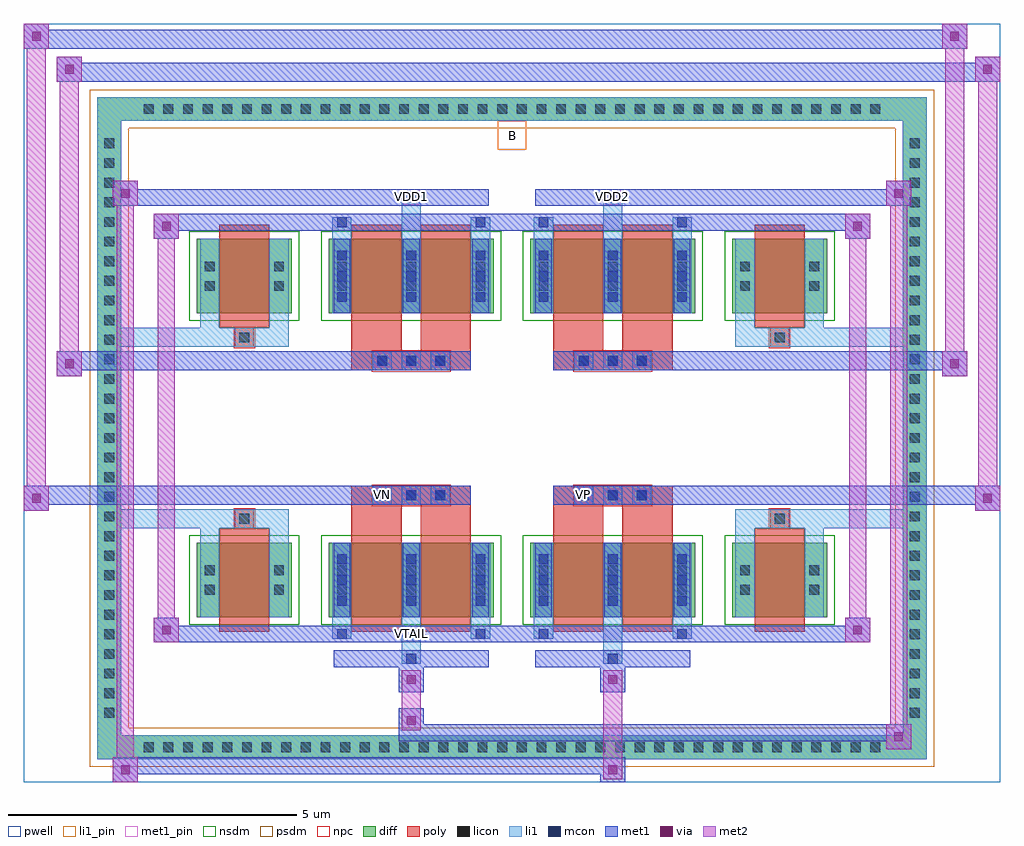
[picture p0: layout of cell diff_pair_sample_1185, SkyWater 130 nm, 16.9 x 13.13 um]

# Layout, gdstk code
import gdstk
lib = gdstk.Library(unit=1e-6, precision=5e-09)
def R(c, l, rs):  # rectangles x0, y0, x1, y1
    for r in rs: c.add(gdstk.rectangle(r[:2], r[2:], *l))
def A(c, l, x, y, w, h, nx, ny, dx, dy):  # array of equal rectangles
    R(c, l, [(x+i*dx, y+j*dy, x+i*dx+w, y+j*dy+h) for i in range(nx) for j in range(ny)])
def P(c, l, *ps):  # polygons
    for p in ps: c.add(gdstk.Polygon(p, *l))
pwell = (64, 44)
diff = (65, 20)
poly = (66, 20)
licon = (66, 44)
li1_pin = (67, 16)
li1 = (67, 20)
mcon = (67, 44)
met1_pin = (68, 16)
met1 = (68, 20)
via = (68, 44)
met2 = (69, 20)
nsdm = (93, 44)
psdm = (94, 20)
npc = (95, 20)

diff_pair_sample_1185 = lib.new_cell('diff_pair_sample_1185')
R(diff_pair_sample_1185, pwell, [(-8.45,-6.13,8.45,7), (-5.77,-4.32,-0.01,-0.8), (0.01,-4.32,5.77,-0.8), (-5.77,0.8,-0.01,4.32), (0.01,0.8,5.77,4.32)])
A(diff_pair_sample_1185, diff, -6.495, -5.73, 0.41, 0.41, 38, 2, 0.34, 11.05)
A(diff_pair_sample_1185, diff, -7.18, -5.135, 0.41, 0.41, 1, 30, 0, 0.34)
A(diff_pair_sample_1185, diff, 6.77, -5.135, 0.41, 0.41, 1, 30, 0, 0.34)
R(diff_pair_sample_1185, diff, [(-6.495,-5.73,6.495,-5.32), (-7.18,-5.135,-6.77,5.135), (6.77,-5.135,7.18,5.135), (-5.46,-3.275,-3.81,-1.985), (-3.17,-3.275,-0.32,-1.985), (0.32,-3.275,3.17,-1.985), (3.81,-3.275,5.46,-1.985), (-5.46,1.985,-3.81,3.275), (-3.17,1.985,-0.32,3.275), (0.32,1.985,3.17,3.275), (3.81,1.985,5.46,3.275), (-6.495,5.32,6.495,5.73)])
P(diff_pair_sample_1185, diff, [(7.18,5.73),(-7.18,5.73),(-7.18,-5.32),(-6.77,-5.32),(-6.77,5.32),(6.77,5.32),(6.77,-5.32),(-6.77,-5.32),(-7.18,-5.32),(-7.18,-5.73),(7.18,-5.73)])
A(diff_pair_sample_1185, poly, -2.41, -1.33, 0.33, 0.33, 3, 2, 0.5, 2.33)
A(diff_pair_sample_1185, poly, 1.08, -1.33, 0.33, 0.33, 3, 2, 0.5, 2.33)
R(diff_pair_sample_1185, poly, [(-5.07,-3.525,-4.2,-1.735), (-2.78,-3.525,-1.91,-1.735), (-1.58,-3.525,-0.71,-1.735), (0.71,-3.525,1.58,-1.735), (1.91,-3.525,2.78,-1.735), (4.2,-3.525,5.07,-1.735), (-4.8,-1.735,-4.47,-1.405), (-4.8,-1.735,-4.47,-1.405), (-2.78,-1.735,-1.91,-1.33), (-1.58,-1.735,-0.71,-1.33), (0.71,-1.735,1.58,-1.33), (1.91,-1.735,2.78,-1.33), (4.47,-1.735,4.8,-1.405), (4.47,-1.735,4.8,-1.405), (-2.78,-1.33,-0.71,-1), (0.71,-1.33,2.78,-1), (-2.78,1,-0.71,1.33), (0.71,1,2.78,1.33), (-2.78,1.33,-1.91,1.735), (-1.58,1.33,-0.71,1.735), (0.71,1.33,1.58,1.735), (1.91,1.33,2.78,1.735), (-4.8,1.405,-4.47,1.735), (-4.8,1.405,-4.47,1.735), (4.47,1.405,4.8,1.735), (4.47,1.405,4.8,1.735), (-5.07,1.735,-4.2,3.525), (-2.78,1.735,-1.91,3.525), (-1.58,1.735,-0.71,3.525), (0.71,1.735,1.58,3.525), (1.91,1.735,2.78,3.525), (4.2,1.735,5.07,3.525)])
A(diff_pair_sample_1185, licon, -6.375, -5.61, 0.17, 0.17, 38, 2, 0.34, 11.05)
A(diff_pair_sample_1185, licon, -7.06, -5.015, 0.17, 0.17, 1, 30, 0, 0.34)
A(diff_pair_sample_1185, licon, 6.89, -5.015, 0.17, 0.17, 1, 30, 0, 0.34)
A(diff_pair_sample_1185, licon, -3.03, -2.885, 0.17, 0.17, 3, 2, 1.2, 0.34)
A(diff_pair_sample_1185, licon, 0.46, -2.885, 0.17, 0.17, 3, 2, 1.2, 0.34)
A(diff_pair_sample_1185, licon, -2.33, -1.25, 0.17, 0.17, 3, 2, 0.5, 2.33)
A(diff_pair_sample_1185, licon, 1.16, -1.25, 0.17, 0.17, 3, 2, 0.5, 2.33)
A(diff_pair_sample_1185, licon, -3.03, 2.375, 0.17, 0.17, 3, 2, 1.2, 0.34)
A(diff_pair_sample_1185, licon, 0.46, 2.375, 0.17, 0.17, 3, 2, 1.2, 0.34)
R(diff_pair_sample_1185, licon, [(-5.32,-2.885,-5.15,-2.715), (-4.12,-2.885,-3.95,-2.715), (3.95,-2.885,4.12,-2.715), (5.15,-2.885,5.32,-2.715), (-5.32,-2.545,-5.15,-2.375), (-4.12,-2.545,-3.95,-2.375), (3.95,-2.545,4.12,-2.375), (5.15,-2.545,5.32,-2.375), (-4.72,-1.655,-4.55,-1.485), (4.55,-1.655,4.72,-1.485), (-4.72,1.485,-4.55,1.655), (4.55,1.485,4.72,1.655), (-5.32,2.375,-5.15,2.545), (-4.12,2.375,-3.95,2.545), (3.95,2.375,4.12,2.545), (5.15,2.375,5.32,2.545), (-5.32,2.715,-5.15,2.885), (-4.12,2.715,-3.95,2.885), (3.95,2.715,4.12,2.885), (5.15,2.715,5.32,2.885)])
R(diff_pair_sample_1185, li1_pin, [(-0.25,4.82,0.25,5.32)])
A(diff_pair_sample_1185, li1, -6.455, -5.69, 0.33, 0.33, 38, 2, 0.34, 11.05)
A(diff_pair_sample_1185, li1, -7.14, -5.095, 0.33, 0.33, 1, 30, 0, 0.34)
A(diff_pair_sample_1185, li1, 6.81, -5.095, 0.33, 0.33, 1, 30, 0, 0.34)
A(diff_pair_sample_1185, li1, -3.11, -3.275, 0.33, 1.29, 3, 2, 1.2, 5.26)
A(diff_pair_sample_1185, li1, 0.38, -3.275, 0.33, 1.29, 3, 2, 1.2, 5.26)
A(diff_pair_sample_1185, li1, -3.03, -3.075, 0.17, 0.17, 3, 3, 1.2, 0.36)
A(diff_pair_sample_1185, li1, -3.03, -3.075, 0.17, 0.89, 3, 2, 1.2, 5.26)
A(diff_pair_sample_1185, li1, 0.46, -3.075, 0.17, 0.17, 3, 3, 1.2, 0.36)
A(diff_pair_sample_1185, li1, 0.46, -3.075, 0.17, 0.89, 3, 2, 1.2, 5.26)
A(diff_pair_sample_1185, li1, -3.11, -2.965, 0.33, 0.33, 3, 2, 1.2, 0.34)
A(diff_pair_sample_1185, li1, 0.38, -2.965, 0.33, 0.33, 3, 2, 1.2, 0.34)
A(diff_pair_sample_1185, li1, -2.41, -1.33, 0.33, 0.33, 3, 2, 0.5, 2.33)
A(diff_pair_sample_1185, li1, 1.08, -1.33, 0.33, 0.33, 3, 2, 0.5, 2.33)
A(diff_pair_sample_1185, li1, -3.03, 2.185, 0.17, 0.17, 3, 3, 1.2, 0.36)
A(diff_pair_sample_1185, li1, 0.46, 2.185, 0.17, 0.17, 3, 3, 1.2, 0.36)
A(diff_pair_sample_1185, li1, -3.11, 2.295, 0.33, 0.33, 3, 2, 1.2, 0.34)
A(diff_pair_sample_1185, li1, 0.38, 2.295, 0.33, 0.33, 3, 2, 1.2, 0.34)
R(diff_pair_sample_1185, li1, [(-7.18,-5.73,-6.77,-5.32), (-7.18,-5.73,-6.77,-5.32), (-6.77,-5.73,6.77,-5.32), (6.77,-5.73,7.18,-5.32), (6.77,-5.73,7.18,-5.32), (-7.18,-5.32,-6.77,5.32), (6.77,-5.32,7.18,5.32), (-1.91,-4.08,-1.58,-3.275), (-1.83,-4.08,-1.66,-3.91), (1.58,-4.08,1.91,-3.275), (1.66,-4.08,1.83,-3.91), (-3.11,-3.65,-2.78,-3.275), (-3.03,-3.65,-2.86,-3.48), (-0.71,-3.65,-0.38,-3.275), (-0.63,-3.65,-0.46,-3.48), (0.38,-3.65,0.71,-3.275), (0.46,-3.65,0.63,-3.48), (2.78,-3.65,3.11,-3.275), (2.86,-3.65,3.03,-3.48), (-5.4,-3.275,-5.07,-1.985), (-4.2,-3.275,-3.87,-1.985), (3.87,-3.275,4.2,-1.985), (5.07,-3.275,5.4,-1.985), (-5.4,-2.965,-5.07,-2.635), (-4.2,-2.965,-3.87,-2.635), (3.87,-2.965,4.2,-2.635), (5.07,-2.965,5.4,-2.635), (-5.4,-2.625,-5.07,-2.295), (-4.2,-2.625,-3.87,-2.295), (3.87,-2.625,4.2,-2.295), (5.07,-2.625,5.4,-2.295), (-5.4,-1.985,-5.07,-1.405), (-4.2,-1.985,-3.87,-1.405), (3.87,-1.985,4.2,-1.405), (5.07,-1.985,5.4,-1.405), (-7.18,-1.735,-4.8,-1.405), (-5.4,-1.735,-4.8,-1.405), (-4.8,-1.735,-4.47,-1.405), (-4.47,-1.735,-3.87,-1.405), (3.87,-1.735,4.47,-1.405), (4.47,-1.735,4.8,-1.405), (4.47,-1.735,7.18,-1.405), (4.8,-1.735,5.4,-1.405), (-7.18,1.405,-4.8,1.735), (-5.4,1.405,-4.8,1.735), (-5.4,1.405,-5.07,1.985), (-4.8,1.405,-4.47,1.735), (-4.47,1.405,-3.87,1.735), (-4.2,1.405,-3.87,1.985), (3.87,1.405,4.47,1.735), (3.87,1.405,4.2,1.985), (4.47,1.405,4.8,1.735), (4.47,1.405,7.18,1.735), (4.8,1.405,5.4,1.735), (5.07,1.405,5.4,1.985), (-5.4,1.985,-5.07,3.275), (-4.2,1.985,-3.87,3.275), (3.87,1.985,4.2,3.275), (5.07,1.985,5.4,3.275), (-5.4,2.295,-5.07,2.625), (-4.2,2.295,-3.87,2.625), (3.87,2.295,4.2,2.625), (5.07,2.295,5.4,2.625), (-5.4,2.635,-5.07,2.965), (-4.2,2.635,-3.87,2.965), (3.87,2.635,4.2,2.965), (5.07,2.635,5.4,2.965), (-3.11,3.275,-2.78,3.65), (-1.91,3.275,-1.58,4.08), (-0.71,3.275,-0.38,3.65), (0.38,3.275,0.71,3.65), (1.58,3.275,1.91,4.08), (2.78,3.275,3.11,3.65), (-3.03,3.48,-2.86,3.65), (-0.63,3.48,-0.46,3.65), (0.46,3.48,0.63,3.65), (2.86,3.48,3.03,3.65), (-1.83,3.91,-1.66,4.08), (1.66,3.91,1.83,4.08), (-7.18,5.32,-6.77,5.73), (-7.18,5.32,-6.77,5.73), (-6.77,5.32,6.77,5.73), (6.77,5.32,7.18,5.73), (6.77,5.32,7.18,5.73)])
A(diff_pair_sample_1185, mcon, -3.03, -3.075, 0.17, 0.17, 3, 3, 1.2, 0.36)
A(diff_pair_sample_1185, mcon, 0.46, -3.075, 0.17, 0.17, 3, 3, 1.2, 0.36)
A(diff_pair_sample_1185, mcon, -2.33, -1.25, 0.17, 0.17, 3, 2, 0.5, 2.33)
A(diff_pair_sample_1185, mcon, 1.16, -1.25, 0.17, 0.17, 3, 2, 0.5, 2.33)
A(diff_pair_sample_1185, mcon, -3.03, 2.185, 0.17, 0.17, 3, 3, 1.2, 0.36)
A(diff_pair_sample_1185, mcon, 0.46, 2.185, 0.17, 0.17, 3, 3, 1.2, 0.36)
R(diff_pair_sample_1185, mcon, [(-1.83,-4.08,-1.66,-3.91), (1.66,-4.08,1.83,-3.91), (-3.03,-3.65,-2.86,-3.48), (-0.63,-3.65,-0.46,-3.48), (0.46,-3.65,0.63,-3.48), (2.86,-3.65,3.03,-3.48), (-3.03,3.48,-2.86,3.65), (-0.63,3.48,-0.46,3.65), (0.46,3.48,0.63,3.65), (2.86,3.48,3.03,3.65), (-1.83,3.91,-1.66,4.08), (1.66,3.91,1.83,4.08)])
R(diff_pair_sample_1185, met1_pin, [(-1.88,-3.69,-1.61,-3.42), (-2.38,-1.29,-2.11,-1.02), (1.11,-1.29,1.38,-1.02), (-1.88,3.87,-1.61,4.14), (1.61,3.87,1.88,4.14)])
A(diff_pair_sample_1185, met1, -3.09, -3.275, 0.29, 1.29, 3, 2, 1.2, 5.26)
A(diff_pair_sample_1185, met1, 0.4, -3.275, 0.29, 1.29, 3, 2, 1.2, 5.26)
A(diff_pair_sample_1185, met1, -3.09, -3.135, 0.29, 0.29, 3, 3, 1.2, 0.36)
A(diff_pair_sample_1185, met1, 0.4, -3.135, 0.29, 0.29, 3, 3, 1.2, 0.36)
A(diff_pair_sample_1185, met1, -2.39, -1.31, 0.29, 0.29, 3, 2, 0.5, 2.33)
A(diff_pair_sample_1185, met1, 1.1, -1.31, 0.29, 0.29, 3, 2, 0.5, 2.33)
A(diff_pair_sample_1185, met1, -3.09, 2.125, 0.29, 0.29, 3, 3, 1.2, 0.36)
A(diff_pair_sample_1185, met1, 0.4, 2.125, 0.29, 0.29, 3, 3, 1.2, 0.36)
R(diff_pair_sample_1185, met1, [(-6.91,-6.13,-6.48,-5.7), (1.53,-6.13,1.96,-5.7), (-6.91,-5.99,1.96,-5.7), (6.48,-5.56,6.91,-5.13), (-1.96,-5.42,6.91,-5.13), (-1.96,-5.28,-1.53,-4.85), (-1.96,-4.57,-1.53,-4.14), (1.53,-4.57,1.96,-4.14), (-3.09,-4.14,-0.4,-3.85), (-1.89,-4.14,-1.6,-3.85), (0.4,-4.14,3.09,-3.85), (1.6,-4.14,1.89,-3.85), (-6.2,-3.71,-5.77,-3.28), (-6.2,-3.71,-3.09,-3.42), (-3.09,-3.71,-2.8,-3.42), (-3.09,-3.71,-0.4,-3.42), (-0.69,-3.71,-0.4,-3.42), (-0.4,-3.71,0.4,-3.42), (0.4,-3.71,0.69,-3.42), (0.4,-3.71,3.09,-3.42), (2.8,-3.71,3.09,-3.42), (3.09,-3.71,6.2,-3.42), (5.77,-3.71,6.2,-3.28), (-8.45,-1.43,-8.02,-1), (8.02,-1.43,8.45,-1), (-8.45,-1.33,-0.71,-1), (-2.78,-1.33,-0.71,-1), (0.71,-1.33,2.78,-1), (0.71,-1.33,8.45,-1), (-7.88,0.9,-7.45,1.33), (7.45,0.9,7.88,1.33), (-7.88,1,-2.78,1.33), (-2.78,1,-0.71,1.33), (0.71,1,2.78,1.33), (2.78,1,7.88,1.33), (-6.2,3.28,-5.77,3.71), (5.77,3.28,6.2,3.71), (-6.2,3.42,-3.09,3.71), (-3.09,3.42,-2.8,3.71), (-3.09,3.42,-0.4,3.71), (-0.69,3.42,-0.4,3.71), (-0.4,3.42,0.4,3.71), (0.4,3.42,0.69,3.71), (0.4,3.42,3.09,3.71), (2.8,3.42,3.09,3.71), (3.09,3.42,6.2,3.71), (-6.91,3.85,-6.48,4.28), (-6.91,3.85,-3.09,4.14), (-3.09,3.85,-0.4,4.14), (-1.89,3.85,-1.6,4.14), (0.4,3.85,3.09,4.14), (1.6,3.85,1.89,4.14), (3.09,3.85,6.91,4.14), (6.48,3.85,6.91,4.28), (-7.88,6,-7.45,6.43), (-7.88,6,-5.77,6.33), (-5.77,6,5.77,6.33), (5.77,6,8.45,6.33), (8.02,6,8.45,6.43), (-8.45,6.57,-8.02,7), (-8.45,6.57,-5.77,6.9), (-5.77,6.57,5.77,6.9), (5.77,6.57,7.88,6.9), (7.45,6.57,7.88,7)])
R(diff_pair_sample_1185, via, [(-6.77,-5.99,-6.62,-5.84), (1.67,-5.99,1.82,-5.84), (6.62,-5.42,6.77,-5.27), (-1.82,-5.14,-1.67,-4.99), (-1.82,-4.43,-1.67,-4.28), (1.67,-4.43,1.82,-4.28), (-6.06,-3.57,-5.91,-3.42), (5.91,-3.57,6.06,-3.42), (-8.31,-1.29,-8.16,-1.14), (8.16,-1.29,8.31,-1.14), (-7.74,1.04,-7.59,1.19), (7.59,1.04,7.74,1.19), (-6.06,3.42,-5.91,3.57), (5.91,3.42,6.06,3.57), (-6.77,3.99,-6.62,4.14), (6.62,3.99,6.77,4.14), (-7.74,6.14,-7.59,6.29), (8.16,6.14,8.31,6.29), (-8.31,6.71,-8.16,6.86), (7.59,6.71,7.74,6.86)])
R(diff_pair_sample_1185, met2, [(-6.91,-6.13,-6.48,-5.7), (-6.84,-6.13,-6.55,4.28), (-6.55,-6.13,-6.48,-5.7), (-6.86,-6.08,-6.53,-5.75), (1.58,-6.08,1.91,-5.75), (1.58,-5.75,1.91,-4.52), (6.48,-5.56,6.91,-5.13), (6.55,-5.56,6.84,4.28), (6.84,-5.56,6.91,-5.13), (6.53,-5.51,6.86,-5.18), (-1.91,-5.23,-1.58,-4.9), (-1.91,-4.9,-1.58,-4.52), (-1.91,-4.52,-1.58,-4.19), (1.58,-4.52,1.91,-4.19), (-6.2,-3.71,-5.77,-3.28), (-6.13,-3.71,-5.84,3.71), (-5.84,-3.71,-5.77,-3.28), (5.77,-3.71,6.2,-3.28), (5.84,-3.71,6.13,3.71), (6.13,-3.71,6.2,-3.28), (-6.15,-3.66,-5.82,-3.33), (5.82,-3.66,6.15,-3.33), (-8.45,-1.43,-8.02,-1), (-8.4,-1.43,-8.07,7), (-8.07,-1.43,-8.02,-1), (8.02,-1.43,8.45,-1), (8.07,-1.43,8.4,6.43), (8.4,-1.43,8.45,-1), (-8.4,-1.38,-8.07,-1.05), (8.07,-1.38,8.4,-1.05), (-7.88,0.9,-7.45,1.33), (-7.83,0.9,-7.5,6.43), (-7.5,0.9,-7.45,1.33), (7.45,0.9,7.88,1.33), (7.5,0.9,7.83,7), (7.83,0.9,7.88,1.33), (-7.83,0.95,-7.5,1.28), (7.5,0.95,7.83,1.28), (-6.2,3.28,-5.77,3.71), (-5.84,3.28,-5.77,3.71), (5.77,3.28,6.2,3.71), (6.13,3.28,6.2,3.71), (-6.15,3.33,-5.82,3.66), (5.82,3.33,6.15,3.66), (-6.91,3.85,-6.48,4.28), (-6.55,3.85,-6.48,4.28), (6.48,3.85,6.91,4.28), (6.84,3.85,6.91,4.28), (-6.86,3.9,-6.53,4.23), (6.53,3.9,6.86,4.23), (-7.88,6,-7.45,6.43), (-7.5,6,-7.45,6.43), (8.02,6,8.45,6.43), (8.4,6,8.45,6.43), (-7.83,6.05,-7.5,6.38), (8.07,6.05,8.4,6.38), (-8.45,6.57,-8.02,7), (-8.07,6.57,-8.02,7), (7.45,6.57,7.88,7), (7.83,6.57,7.88,7), (-8.4,6.62,-8.07,6.95), (7.5,6.62,7.83,6.95)])
R(diff_pair_sample_1185, nsdm, [(-5.59,-3.405,-3.68,-1.855), (-3.3,-3.405,-0.19,-1.855), (0.19,-3.405,3.3,-1.855), (3.68,-3.405,5.59,-1.855), (-5.59,1.855,-3.68,3.405), (-3.3,1.855,-0.19,3.405), (0.19,1.855,3.3,3.405), (3.68,1.855,5.59,3.405)])
P(diff_pair_sample_1185, psdm, [(7.31,5.86),(-7.31,5.86),(-7.31,-5.19),(-6.64,-5.19),(-6.64,5.19),(6.64,5.19),(6.64,-5.19),(-6.64,-5.19),(-7.31,-5.19),(-7.31,-5.86),(7.31,-5.86)])
A(diff_pair_sample_1185, npc, -2.43, -1.35, 0.37, 0.37, 3, 2, 0.5, 2.33)
A(diff_pair_sample_1185, npc, 1.06, -1.35, 0.37, 0.37, 3, 2, 0.5, 2.33)
R(diff_pair_sample_1185, npc, [(-4.82,-1.755,-4.45,-1.385), (4.45,-1.755,4.82,-1.385), (-2.43,-1.35,-1.56,-0.98), (-2.43,-1.35,-1.56,-0.98), (-1.93,-1.35,-1.06,-0.98), (-1.93,-1.35,-1.06,-0.98), (1.06,-1.35,1.93,-0.98), (1.06,-1.35,1.93,-0.98), (1.56,-1.35,2.43,-0.98), (1.56,-1.35,2.43,-0.98), (-2.43,0.98,-1.56,1.35), (-2.43,0.98,-1.56,1.35), (-1.93,0.98,-1.06,1.35), (-1.93,0.98,-1.06,1.35), (1.06,0.98,1.93,1.35), (1.06,0.98,1.93,1.35), (1.56,0.98,2.43,1.35), (1.56,0.98,2.43,1.35), (-4.82,1.385,-4.45,1.755), (4.45,1.385,4.82,1.755)])
diff_pair_sample_1185.add(gdstk.Label('VTAIL', (-1.745,-3.555), layer=68, texttype=5))
diff_pair_sample_1185.add(gdstk.Label('VN', (-2.245,-1.155), layer=68, texttype=5))
diff_pair_sample_1185.add(gdstk.Label('VP', (1.245,-1.155), layer=68, texttype=5))
diff_pair_sample_1185.add(gdstk.Label('B', (0,5.07), layer=67, texttype=5))
diff_pair_sample_1185.add(gdstk.Label('VDD2', (1.745,4.005), layer=68, texttype=5))
diff_pair_sample_1185.add(gdstk.Label('VDD1', (-1.745,4.005), layer=68, texttype=5))

lib.write_gds('diff_pair_sample_1185.gds')
